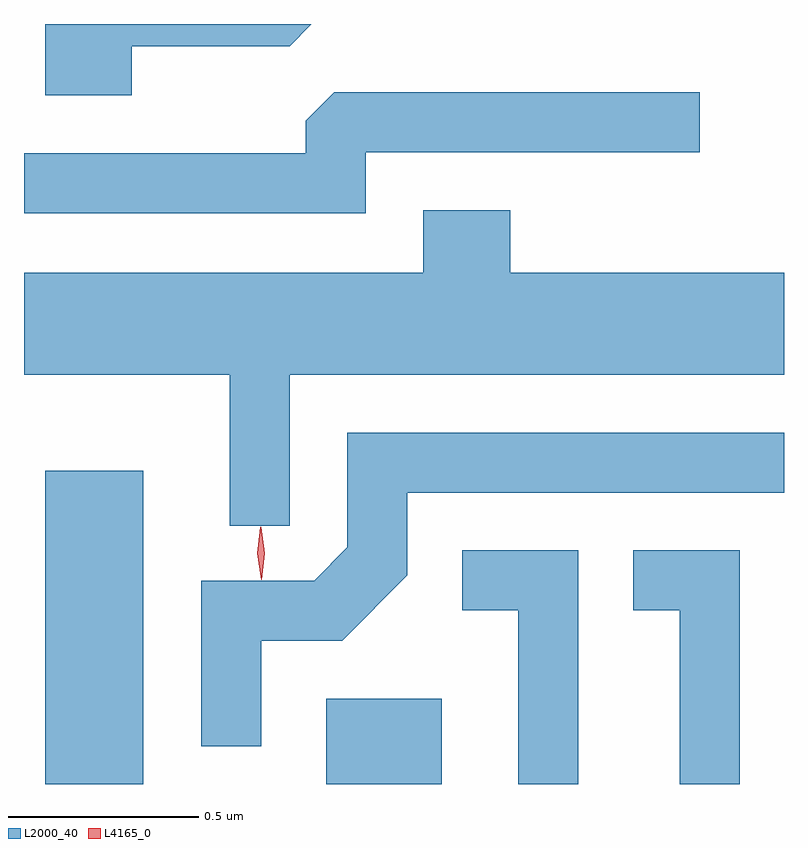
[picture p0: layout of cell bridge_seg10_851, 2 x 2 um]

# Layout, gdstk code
import gdstk
lib = gdstk.Library(unit=1e-6, precision=1e-09)
def R(c, l, rs):  # rectangles x0, y0, x1, y1
    for r in rs: c.add(gdstk.rectangle(r[:2], r[2:], *l))
def P(c, l, *ps):  # polygons
    for p in ps: c.add(gdstk.Polygon(p, *l))
L2000_40 = (2000, 40)
L4165_0 = (4165, 0)

bridge_seg10_851 = lib.new_cell('bridge_seg10_851')
R(bridge_seg10_851, L2000_40, [(357.316,2128.379,357.574,2129.204), (358.056,2128.379,358.359,2128.604)])
P(bridge_seg10_851, L2000_40, [(357.544,2130.321),(357.959,2130.321),(358.016,2130.379),(357.316,2130.379),(357.316,2130.191),(357.544,2130.191)],
  [(358.159,2130.041),(359.038,2130.041),(359.038,2130.199),(358.077,2130.199),(358.001,2130.124),(358.001,2130.039),(357.26,2130.039),(357.26,2129.881),(358.159,2129.881)],
  [(357.959,2129.456),(359.26,2129.456),(359.26,2129.724),(358.539,2129.724),(358.539,2129.889),(358.311,2129.889),(358.311,2129.724),(357.26,2129.724),(357.26,2129.456),(357.801,2129.456),(357.801,2129.058),(357.959,2129.058)],
  [(357.884,2128.756),(358.097,2128.756),(358.269,2128.929),(358.269,2129.146),(359.26,2129.146),(359.26,2129.304),(358.111,2129.304),(358.111,2129.002),(358.024,2128.914),(357.726,2128.914),(357.726,2128.478),(357.884,2128.478)],
  [(358.719,2128.994),(358.413,2128.994),(358.413,2128.836),(358.561,2128.836),(358.561,2128.379),(358.719,2128.379)],
  [(359.144,2128.994),(358.863,2128.994),(358.863,2128.836),(358.986,2128.836),(358.986,2128.379),(359.144,2128.379)])
P(bridge_seg10_851, L4165_0, [(357.884,2128.917),(357.874,2128.986),(357.882,2129.055),(357.883,2129.056),(357.884,2129.055),(357.894,2128.986),(357.885,2128.917),(357.885,2128.917)],
  [(357.885,2128.919),(357.884,2128.92),(357.874,2128.986),(357.882,2129.052),(357.883,2129.052),(357.884,2129.052),(357.894,2128.986),(357.885,2128.92)])

lib.write_gds('bridge_seg10_851.gds')
